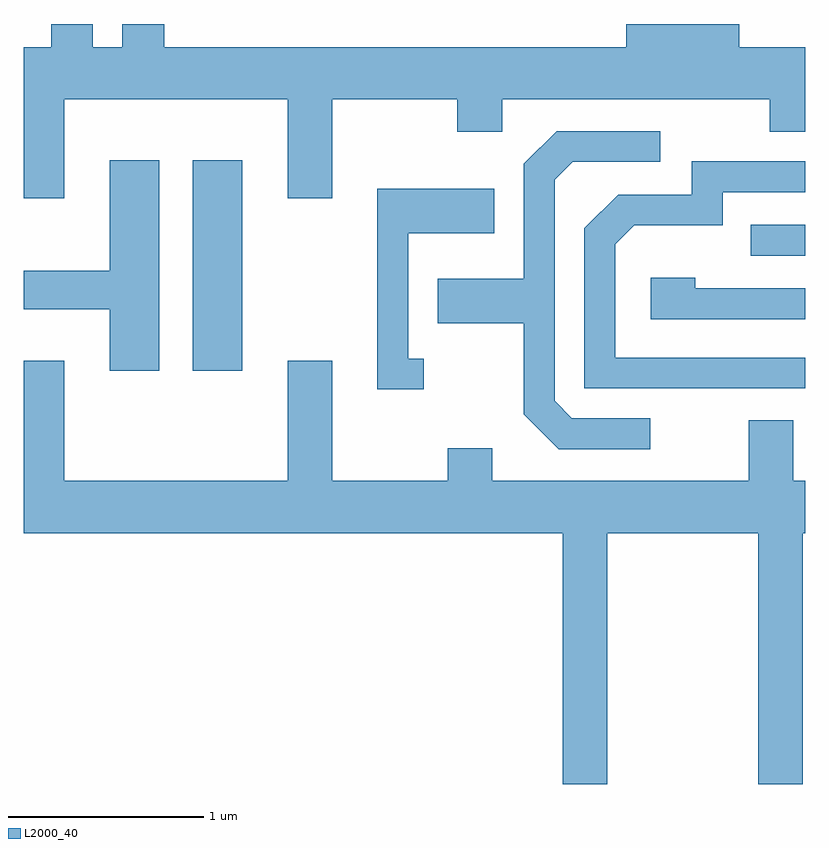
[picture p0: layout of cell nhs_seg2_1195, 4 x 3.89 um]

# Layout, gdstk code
import gdstk
lib = gdstk.Library(unit=1e-6, precision=1e-09)
def R(c, l, rs):  # rectangles x0, y0, x1, y1
    for r in rs: c.add(gdstk.rectangle(r[:2], r[2:], *l))
def P(c, l, *ps):  # polygons
    for p in ps: c.add(gdstk.Polygon(p, *l))
L2000_40 = (2000, 40)

nhs_seg2_1195 = lib.new_cell('nhs_seg2_1195')
R(nhs_seg2_1195, L2000_40, [(220.476,1058.026,220.729,1059.104), (223.333,1058.616,223.611,1058.774)])
P(nhs_seg2_1195, L2000_40, [(219.819,1059.416),(220.961,1059.416),(220.961,1058.911),(221.189,1058.911),(221.189,1059.416),(221.831,1059.416),(221.831,1059.251),(222.059,1059.251),(222.059,1059.416),(223.431,1059.416),(223.431,1059.251),(223.611,1059.251),(223.611,1059.684),(223.274,1059.684),(223.274,1059.802),(222.696,1059.802),(222.696,1059.684),(220.329,1059.684),(220.329,1059.802),(220.116,1059.802),(220.116,1059.684),(219.964,1059.684),(219.964,1059.802),(219.751,1059.802),(219.751,1059.684),(219.611,1059.684),(219.611,1058.911),(219.819,1058.911)],
  [(222.818,1057.784),(222.417,1057.784),(222.329,1057.872),(222.329,1059.004),(222.422,1059.096),(222.868,1059.096),(222.868,1059.254),(222.339,1059.254),(222.171,1059.087),(222.171,1058.499),(221.731,1058.499),(221.731,1058.271),(222.171,1058.271),(222.171,1057.804),(222.349,1057.626),(222.818,1057.626)],
  [(220.304,1059.104),(220.051,1059.104),(220.051,1058.539),(219.611,1058.539),(219.611,1058.341),(220.051,1058.341),(220.051,1058.026),(220.304,1058.026)],
  [(223.611,1058.094),(222.639,1058.094),(222.639,1058.674),(222.737,1058.771),(223.189,1058.771),(223.189,1058.941),(223.611,1058.941),(223.611,1059.099),(223.031,1059.099),(223.031,1058.929),(222.654,1058.929),(222.481,1058.757),(222.481,1057.936),(223.611,1057.936)],
  [(221.658,1058.089),(221.579,1058.089),(221.579,1058.731),(222.019,1058.731),(222.019,1058.959),(221.421,1058.959),(221.421,1057.931),(221.658,1057.931)],
  [(223.611,1058.449),(223.049,1058.449),(223.049,1058.504),(222.821,1058.504),(222.821,1058.291),(223.611,1058.291)],
  [(222.599,1057.196),(223.371,1057.196),(223.371,1055.911),(223.599,1055.911),(223.599,1057.196),(223.611,1057.196),(223.611,1057.464),(223.549,1057.464),(223.549,1057.774),(223.321,1057.774),(223.321,1057.464),(222.009,1057.464),(222.009,1057.629),(221.781,1057.629),(221.781,1057.464),(221.189,1057.464),(221.189,1058.079),(220.961,1058.079),(220.961,1057.464),(219.819,1057.464),(219.819,1058.079),(219.611,1058.079),(219.611,1057.196),(222.371,1057.196),(222.371,1055.911),(222.599,1055.911)])

lib.write_gds('nhs_seg2_1195.gds')
